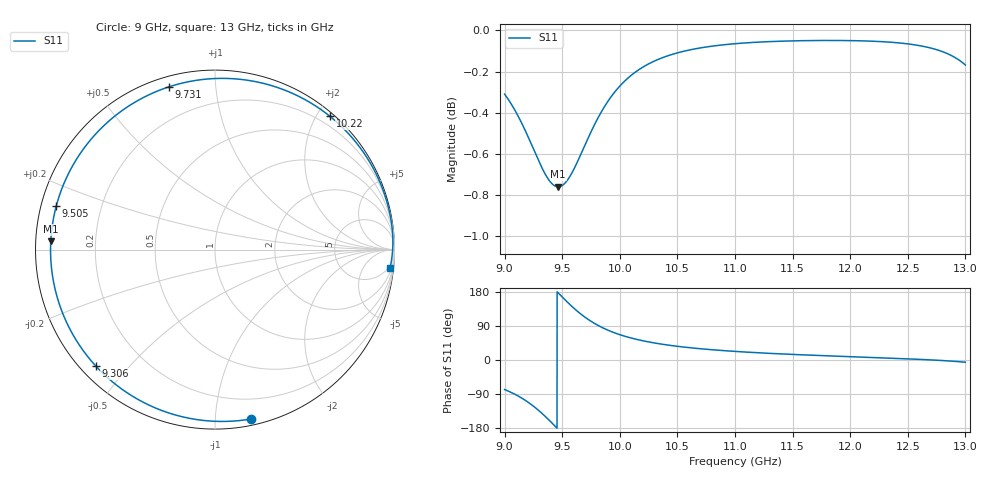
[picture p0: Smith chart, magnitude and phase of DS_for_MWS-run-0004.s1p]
! TOUCHSTONE file generated by CST DESIGN STUDIO
! Date and time: Tue Feb  4 17:54:05 2025
! Project name: C:\Work\MatlabApps\UnitCellOptimizationMatlab\CST\unitcell.cst
! Tree item: Tasks\Sweep1\SPara1\S-Parameters
! Header version: 2024
! Port assignment regex: !\s*Touchstone port\s*([0-9]+)\s*=\s*(CST MWS port|CST DES external port|CST DES block port)\s*(.+)\s* \(\"(.*)\"\)(\s*mode\s*([0-9]+))?.*
! Touchstone port assignment:
! Touchstone port 1 = CST DES external port 1 ("")
# GHz S MA R 50
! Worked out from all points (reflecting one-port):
!   4001 points, 9 GHz to 13 GHz, reference 50 ohm
!   lowest |S11| = -0.8 dB at 9.465 GHz (marker M1), VSWR 22.88, Z = 2.19 + j1.26 ohm
!   phase of S11 starts at -78 deg and turns -288 deg over the sweep
!   S11 on the Smith chart (normalised r, x): 9 GHz: 0.04, -1.24; 9.306 GHz: 0.04, -0.41; 9.505 GHz: 0.04, +0.13; 9.731 GHz: 0.05, +0.75; 10.22 GHz: 0.06, +2.18; 13 GHz: 4, -19
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9  0.965 -77.9
9.076  0.9578 -88.4
9.174  0.9462 -105.3
9.242  0.937 -119.9
9.306  0.9283 -135.8
9.347  0.9234 -147.1
9.391  0.9192 -160.1
9.429  0.917 -171.7
9.465  0.9162 177.1
9.5  0.9169 166.3
9.505  0.9171 164.7
9.565  0.9214 146.8
9.619  0.9275 132.0
9.673  0.9346 118.6
9.731  0.9424 105.9
9.793  0.9502 94.3
9.864  0.958 83.2
10  0.9694 66.8
10.105  0.9755 57.5
10.224  0.9806 49.2
10.352  0.9844 42.3
10.5  0.9875 36.1
10.722  0.9905 29.1
11  0.9926 22.7
11.5  0.9942 14.7
12  0.9944 8.8
12.5  0.9925 3.1
13  0.9809 -5.9
